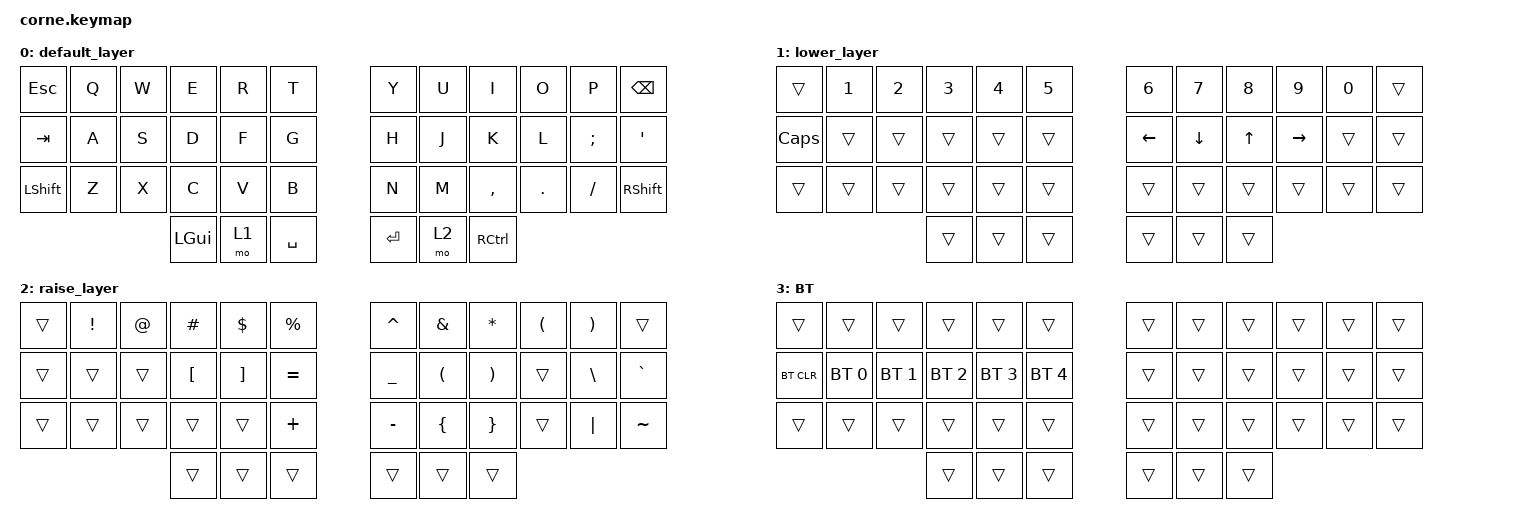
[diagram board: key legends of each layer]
/*
 * Copyright (c) 2020 The ZMK Contributors
 *
 * SPDX-License-Identifier: MIT
 */

#include <behaviors.dtsi>
#include <dt-bindings/zmk/keys.h>
#include <dt-bindings/zmk/bt.h>


/ {

    conditional_layers {
        compatible = "zmk,conditional-layers";
        tri_layer {
            if-layers = <1 2>;
            then-layer = <3>;
        };
    };

    keymap {
        compatible = "zmk,keymap";

        default_layer {
// -----------------------------------------------------------------------------------------
// |  ESC |  Q  |  W  |  E  |  R  |  T  |   |  Y  |  U   |  I  |  O  |  P  | BSPC |
// |  TAB |  A  |  S  |  D  |  F  |  G  |   |  H  |  J   |  K  |  L  |  ;  |  '   |
// | SHFT |  Z  |  X  |  C  |  V  |  B  |   |  N  |  M   |  ,  |  .  |  /  | SHFT |
//                    | GUI | LWR | SPC |   | ENT | RSE  | ALT |
        bindings = <
   &kp ESC   &kp Q &kp W &kp E &kp R &kp T   &kp Y &kp U  &kp I     &kp O   &kp P    &kp BSPC
   &kp TAB   &kp A &kp S &kp D &kp F &kp G   &kp H &kp J  &kp K     &kp L   &kp SEMI &kp SQT
   &kp LSHFT &kp Z &kp X &kp C &kp V &kp B   &kp N &kp M  &kp COMMA &kp DOT &kp FSLH &kp RSHIFT
                  &kp LGUI &mo 1 &kp SPACE   &kp RET &mo 2 &kp RCTRL
        >;
        };
        lower_layer {
// -----------------------------------------------------------------------------------------
// |      |  1  |  2  |  3  |  4  |  5  |   |  6  |  7  |  8  |  9  |  0  | BSPC |
// | CAPS |     |     |     |     |     |   | LFT | DWN |  UP | RGT |     |      |
// |      |     |     |     |     |     |   |     |     |     |     |     |      |
//                    | GUI |     | SPC |   | ENT |     | ALT |
        bindings = <
   &trans   &kp N1  &kp N2  &kp N3  &kp N4  &kp N5  &kp N6      &kp N7      &kp N8  &kp N9      &kp N0  &trans
   &kp CAPS &trans  &trans  &trans  &trans  &trans  &kp LEFT    &kp DOWN    &kp UP  &kp RIGHT   &trans  &trans
   &trans   &trans  &trans  &trans  &trans  &trans  &trans      &trans      &trans  &trans      &trans  &trans
                            &trans  &trans  &trans  &trans      &trans      &trans
        >;
        };

        raise_layer {
// -----------------------------------------------------------------------------------------
// |      |  !  |  @  |  #  |  $  |  %  |   |  ^  |  &  |  *  |  (  |  )  | BSPC |
// |      |     |     |  [  |  ]  |  =  |   |  _  |  (  |  )  |     |  \  |  `   |
// |      |     |     |     |     |  +  |   |  -  |  {  |  }  |     | "|" |  ~   |
//                    | GUI |     | SPC |   | ENT |     | ALT |
        bindings = <
   &trans   &kp EXCL &kp AT &kp HASH    &kp DLLR    &kp PRCNT   &kp CARET   &kp AMPS    &kp ASTRK   &kp LPAR    &kp RPAR    &trans
   &trans   &trans   &trans &kp LBKT    &kp RBKT    &kp EQUAL   &kp UNDER   &kp LPAR    &kp RPAR    &trans      &kp BSLH    &kp GRAVE
   &trans   &trans   &trans &trans      &trans      &kp PLUS    &kp MINUS   &kp LBRC    &kp RBRC    &trans      &kp PIPE    &kp TILDE
                            &trans      &trans      &trans      &trans      &trans      &trans
        >;
        };

        bt_layer {
            display-name = "BT";
// -----------------------------------------------------------------------------------------
// |  TAB |  !  |  @  |  #  |  $  |  %  |   |  ^  |  &  |  *  |  (  |  )  | BSPC |
// | BTCLR| BT1 | BT2 | BT3 | BT4 | BT5 |   |     |     |     |     |     |      |
// | SHFT |     |     |     |     |     |   |  _  |  +  |  {  |  }  | "|" |  ~   |
//                    | GUI |     | SPC |   | ENT |     | ALT |
        bindings = <
   &trans       &trans          &trans          &trans          &trans          &trans          &trans  &trans  &trans  &trans  &trans  &trans
   &bt BT_CLR   &bt BT_SEL 0    &bt BT_SEL 1    &bt BT_SEL 2    &bt BT_SEL 3    &bt BT_SEL 4    &trans  &trans  &trans  &trans  &trans  &trans
   &trans       &trans          &trans          &trans          &trans          &trans          &trans  &trans  &trans  &trans  &trans  &trans
                                                &trans          &trans          &trans          &trans  &trans  &trans
        >;
        };
    };
};
